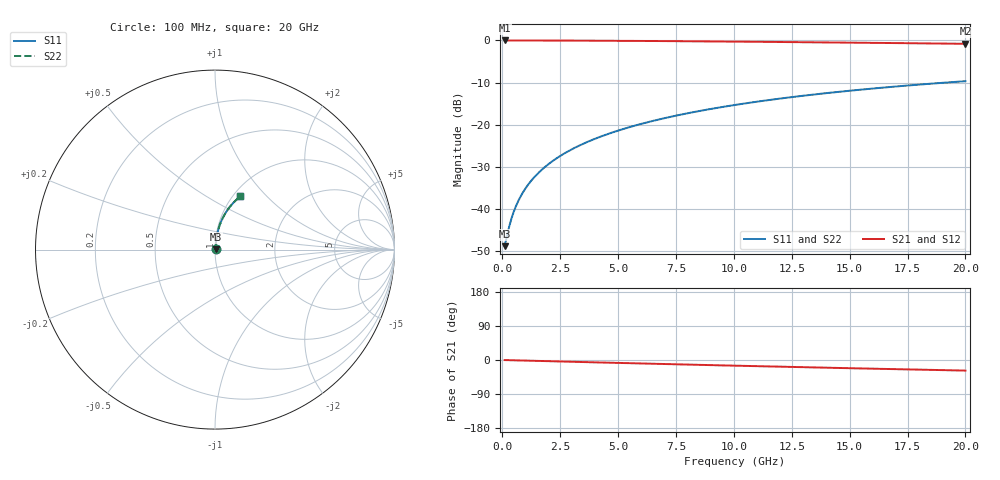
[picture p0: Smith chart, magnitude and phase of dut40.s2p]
! Touchstone file exported from HFSS 2024.1.0
!  File:  C:/UserFiles/LocalFiles/RDL_TSV_Batchsim/temp_RDL_top_40_1778680951.aedt
!  Generated:  10:04:46 PM May 13, 2026
!  Design:  RDL_top
!  Project:  temp_RDL_top_40_1778680951
!  Setup:  Setup1
!  Solution:  Sweep
! Variables:
!  dtsv = 10.80580581um
!  hbump = 3um
!  htsv = 79.98um
!  ldown = 100um
!  lrdl = 343.43um
!  p = 40
!  p1 = 44.2um
!  rhole = 1um
!  t = 450um
!  tdown = 3.915915916um
!  trdl = 2.96um
!  wdown = 15.38538539um
!  wrdl = 13.61um
# GHz S MA R 50.000000
! Terminal data exported
! Port[1] = Box2_T1
! Port[2] = Box2_T2
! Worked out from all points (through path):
!   200 points, 100 MHz to 20 GHz, reference 50 ohm
!   highest |S21| = -0.03 dB at 100 MHz (marker M1); lowest = -0.8 dB at 20 GHz (marker M2)
!   group delay of S21, straight-line fit = 3.87 ps
!   lowest |S11| = -48.8 dB at 100 MHz (marker M3), VSWR 1.01, Z = 50.3 + j0.18 ohm
!   |S11| at or under -10 dB: start of sweep to 19.16 GHz
!   |S22| runs from -48.8 to -9.7 dB; largest |S21 - S12| = 2e-15
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0.1  0.003648 29.3  0.9968 -0.2  0.9968 -0.2  0.003648 29.3
! Gamma 0 0 0 0
! Port Impedance 50 0 50 0
0.3  0.006254 58.1  0.9967 -0.5  0.9967 -0.5  0.006254 58.1
0.4  0.007813 64.3  0.9966 -0.6  0.9966 -0.6  0.007813 64.3
0.5  0.009417 68.3  0.9965 -0.8  0.9965 -0.8  0.009417 68.3
0.6  0.01104 71.1  0.9964 -1.0  0.9964 -1.0  0.01104 71.1
0.7  0.01267 73.2  0.9963 -1.1  0.9963 -1.1  0.01267 73.2
0.9  0.01596 76.0  0.9961 -1.4  0.9961 -1.4  0.01596 76.0
1.2  0.02092 78.6  0.9958 -1.9  0.9958 -1.9  0.02092 78.6
1.4  0.02424 79.8  0.9955 -2.2  0.9955 -2.2  0.02424 79.8
1.7  0.02925 80.9  0.9952 -2.7  0.9952 -2.7  0.02925 80.9
2.2  0.03765 82.0  0.9944 -3.4  0.9944 -3.4  0.03765 82.0
2.8  0.04778 82.5  0.9933 -4.4  0.9933 -4.4  0.04778 82.5
3.5  0.05966 82.6  0.9917 -5.4  0.9917 -5.4  0.05966 82.6
4.2  0.0716 82.5  0.9898 -6.5  0.9898 -6.5  0.0716 82.5
5  0.08529 82.0  0.9874 -7.7  0.9874 -7.7  0.08528 82.0
5.9  0.1007 81.3  0.9842 -9.0  0.9842 -9.0  0.1007 81.3
6.8  0.1162 80.5  0.9807 -10.4  0.9807 -10.4  0.1162 80.5
8.3  0.1419 79.0  0.9743 -12.5  0.9743 -12.5  0.1419 79.0
10.1  0.1726 76.9  0.9658 -15.1  0.9658 -15.1  0.1725 76.9
13.4  0.2274 72.8  0.9485 -19.5  0.9485 -19.5  0.2273 72.8
16.7  0.2795 68.7  0.9297 -23.8  0.9297 -23.8  0.2794 68.6
20  0.3283 64.6  0.9098 -27.9  0.9098 -27.9  0.3283 64.5
